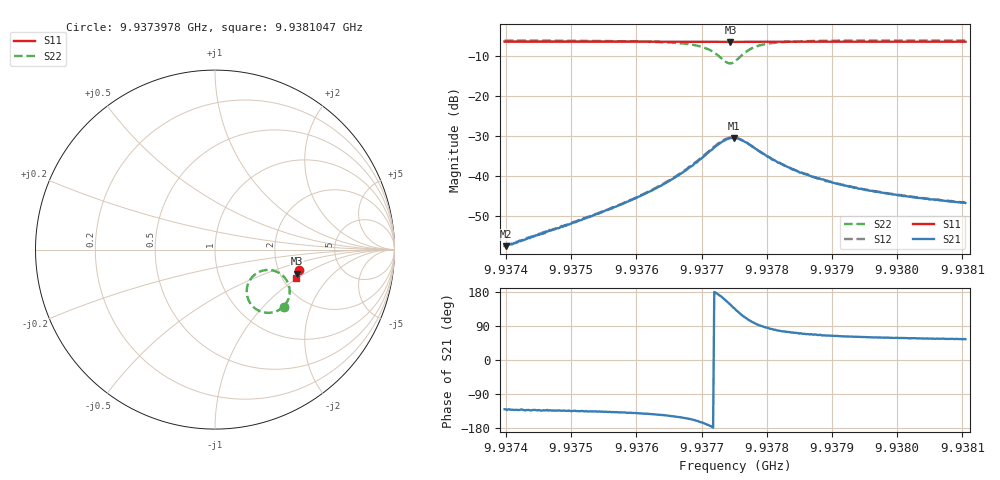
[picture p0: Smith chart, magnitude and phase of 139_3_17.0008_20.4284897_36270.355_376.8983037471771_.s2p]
#  HZ  S  RI  R  50.00
! Rohde & Schwarz Vector Network Analyzer
! Rohde-Schwarz,ZNB20-2Port,1311601062101988,3.16
! Created: UTC 3/20/2024, 10:58:17 PM
! freq[Hz]  re:S11  im:S11  re:S21  im:S21  re:S12  im:S12  re:S22  im:S22
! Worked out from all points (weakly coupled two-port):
!   401 points, 9.9373978 GHz to 9.9381047 GHz, reference 50 ohm
!   highest |S21| = -30.47 dB at 9.9377495 GHz (marker M1); lowest = -57.6 dB at 9.9373996 GHz (marker M2)
!   lowest |S11| = -6.4 dB at 9.9377442 GHz (marker M3), VSWR 2.83, Z = 124 - j43.1 ohm
!   |S11| at or under -10 dB: nowhere
!   |S22| runs from -11.8 to -6.0 dB; largest |S21 - S12| = 0.0014
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9.93739782e9  0.4697 -0.1127  -0.000854 -0.00102  -0.000888 -0.000991  0.3821 -0.3176
9.93739958e9  0.4696 -0.1127  -0.000853 -0.00101  -0.000901 -0.000997  0.3819 -0.3179
9.93751622e9  0.4672 -0.1207  -0.00198 -0.00201  -0.00207 -0.00201  0.3662 -0.3304
9.93757631e9  0.4657 -0.1249  -0.00328 -0.00291  -0.00336 -0.00292  0.3522 -0.3391
9.93763463e9  0.4641 -0.1289  -0.00595 -0.00425  -0.00618 -0.00427  0.3257 -0.3488
9.93767174e9  0.4629 -0.1315  -0.00993 -0.00518  -0.0102 -0.00511  0.2908 -0.3524
9.93769118e9  0.4618 -0.1329  -0.0138 -0.00501  -0.0142 -0.00482  0.2592 -0.3466
9.93770532e9  0.4612 -0.1337  -0.0177 -0.00369  -0.0183 -0.00345  0.2277 -0.3309
9.93771769e9  0.4602 -0.1343  -0.0222 -0.000563  -0.0228 -8.09e-05  0.197 -0.2995
9.93773006e9  0.4593 -0.1344  -0.0258 0.00563  -0.0263 0.00684  0.1769 -0.2416
9.9377389e9  0.4589 -0.1342  -0.0261 0.0126  -0.0261 0.0137  0.1855 -0.1875
9.9377442e9  0.4589 -0.134  -0.0248 0.0167  -0.0243 0.018  0.2042 -0.1566
9.9377495e9  0.4591 -0.1339  -0.022 0.0204  -0.0215 0.0215  0.2313 -0.1325
9.93775127e9  0.4591 -0.1339  -0.021 0.0213  -0.0203 0.0225  0.2416 -0.1265
9.93776011e9  0.4596 -0.134  -0.0146 0.0244  -0.0138 0.0252  0.2957 -0.1131
9.93777071e9  0.4601 -0.1344  -0.00766 0.0244  -0.00688 0.0249  0.3497 -0.1259
9.93779015e9  0.4607 -0.1359  -0.000241 0.02  0.000337 0.0201  0.3995 -0.1722
9.9378255e9  0.4603 -0.1391  0.0034 0.0133  0.00382 0.0134  0.4161 -0.2323
9.93786968e9  0.4595 -0.1424  0.00372 0.00903  0.00414 0.00905  0.411 -0.2679
9.9379227e9  0.4583 -0.1461  0.00353 0.00665  0.00366 0.00663  0.403 -0.289
9.93798809e9  0.4565 -0.1505  0.00311 0.00509  0.00323 0.00509  0.3944 -0.3037
9.93810473e9  0.4535 -0.1582  0.00263 0.00377  0.00273 0.00379  0.3829 -0.3192
